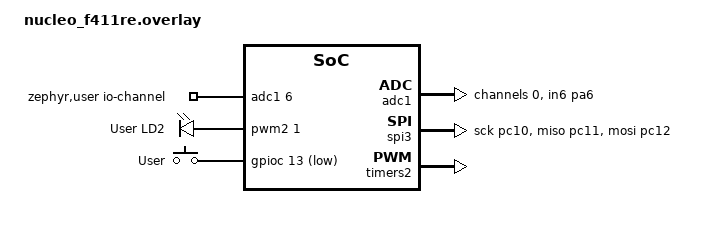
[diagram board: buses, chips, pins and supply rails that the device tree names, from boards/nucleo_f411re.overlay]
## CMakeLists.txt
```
cmake_minimum_required(VERSION 3.20.0)

list(APPEND BOARD_ROOT ${CMAKE_SOURCE_DIR})

# set(BOARD my_board)
set(BOARD nucleo_f411re)

find_package(Zephyr REQUIRED HINTS ${ENV}ZEPHYR_BASE)
project(tmpl_prj)

target_sources(app PRIVATE
    src/main.cpp
    # src/app/user-gpio.cpp
    src/app/user-pwm.cpp
    src/app/user-adc.cpp
    src/app/user-spi.cpp
)
```

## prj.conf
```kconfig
# CONFIG_DEBUG_OPTIMIZATIONS=y
CONFIG_NO_OPTIMIZATIONS=y
CONFIG_LOG=y

CONFIG_THREAD_MONITOR=y
CONFIG_DEBUG_THREAD_INFO=y

CONFIG_CPP=y

CONFIG_GPIO=y
CONFIG_PWM=y
CONFIG_ADC=y
CONFIG_SPI=y
```

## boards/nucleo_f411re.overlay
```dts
/ {
	zephyr,user {
		io-channels = <&adc1 6>;
	};

	// 注：如果在 CMakeLists 中引入 user-gpios，需要将注释的 led 替换掉下面的 led 节点。

	// led {
	// 	compatible = "gpio-leds";

	// 	ld_2: led {
	// 		gpios = <&gpioa 5 GPIO_ACTIVE_HIGH>;
	// 		label = "User LD2";
	// 	};
	// };

	led {
		compatible = "pwm-leds";

		ld_2: led {
			pwms = <&pwm2 1 PWM_MSEC(20) PWM_POLARITY_NORMAL>;
			label = "User LD2";
		};
	};

	key {
		compatible = "gpio-keys";

		b_1: button {
			label = "User";
			gpios = <&gpioc 13 GPIO_ACTIVE_LOW>;
		};
	};

	aliases {
		led0 = &ld_2;
		sw0 = &b_1;
		spi-1 = &spi3;
	};
};

&adc1 {
	status = "okay";
	
	pinctrl-0 = <&adc1_in6_pa6>;
	pinctrl-names = "default";

	st,adc-prescaler = <2>;

	#address-cells = <1>;
	#size-cells = <0>;

	channels@6 {
		reg = <0>;
		zephyr,gain = "ADC_GAIN_1";
		zephyr,reference = "ADC_REF_INTERNAL";
		zephyr,acquisition-time = <ADC_ACQ_TIME_DEFAULT>;
		zephyr,resolution = <12>;
	};
};

&spi3 {
	status = "okay";
	
	pinctrl-0 = <&spi3_sck_pc10 &spi3_miso_pc11 &spi3_mosi_pc12>;
	pinctrl-names = "default";
};

&timers2 {
	status = "okay";

	pwm2: pwm {
		status = "okay";
		pinctrl-0 = <&tim2_ch1_pa5>;
		pinctrl-names = "default";
	};
};
```

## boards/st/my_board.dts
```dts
/dts-v1/;

#include <st/f4/stm32f411Xe.dtsi>
#include <st/f4/stm32f411r(c-e)tx-pinctrl.dtsi>
#include <zephyr/dt-bindings/input/input-event-codes.h>

/ {
    model = "STMicroelectronics STM32F411RE-NUCLEO board";
    compatible = "st,stm32f411re-nucleo";

    chosen {
        zephyr,console = &usart2;
        zephyr,shell-uart = &usart2;
        zephyr,sram = &sram0;
        zephyr,flash = &flash0;
    };

    leds: leds {
        compatible = "gpio-leds";

        green_led_2: led_2 {
            gpios = <&gpioa 5 GPIO_ACTIVE_HIGH>;
            label = "User LD2";
        };
    };

    gpio_keys {
        compatible = "gpio-keys";

        user_button: button {
            label = "User";
            gpios = <&gpioc 13 GPIO_ACTIVE_LOW>;
            zephyr,code = <INPUT_KEY_0>;
        };
    };

    aliases {
        led0 = &green_led_2;
        sw0 = &user_button;
    };
};

&clk_lsi {
    status = "okay";
};

&clk_hse {
    hse-bypass;
    clock-frequency = <DT_FREQ_M(8)>; /* STLink 8MHz clock */
    status = "okay";
};

&pll {
    div-m = <8>;
    mul-n = <384>;
    div-p = <4>;
    div-q = <8>;
    clocks = <&clk_hse>;
    status = "okay";
};

&rcc {
    clocks = <&pll>;
    clock-frequency = <DT_FREQ_M(96)>;
    ahb-prescaler = <1>;
    apb1-prescaler = <2>;
    apb2-prescaler = <1>;
};


&usart2 {
    pinctrl-0 = <&usart2_tx_pa2 &usart2_rx_pa3>;
    pinctrl-names = "default";
    current-speed = <115200>;
    status = "okay";
};
```

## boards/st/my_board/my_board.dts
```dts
/dts-v1/;

#include <st/f4/stm32f411Xe.dtsi>
#include <st/f4/stm32f411r(c-e)tx-pinctrl.dtsi>

/ {
    chosen {
        zephyr,console = &usart2;
        zephyr,shell-uart = &usart2;
        zephyr,sram = &sram0;
        zephyr,flash = &flash0;
    };

    // led {
    //     compatible = "gpio-leds";

    //     ld_2: led {
    //         gpios = <&gpioa 5 GPIO_ACTIVE_HIGH>;
    //         label = "User LD2";
    //     };
    // };

    led {
        compatible = "pwm-leds";

        ld_2: led {
            pwms = <&pwm2 1 PWM_MSEC(20) PWM_POLARITY_NORMAL>;
            label = "User LD2";
        };
    };

    key {
        compatible = "gpio-keys";

        b_1: button {
            label = "User";
            gpios = <&gpioc 13 GPIO_ACTIVE_LOW>;
        };
    };

    aliases {
        led0 = &ld_2;
        sw0 = &b_1;
    };
};

&clk_hse {
    hse-bypass;
    clock-frequency = <DT_FREQ_M(8)>;
    status = "okay";
};

&pll {
    div-m = <4>;
    mul-n = <200>;
    div-p = <4>;
    clocks = <&clk_hse>;
    status = "okay";
};

&rcc {
    clocks = <&pll>;
    clock-frequency = <DT_FREQ_M(100)>;
    ahb-prescaler = <1>;
    apb1-prescaler = <2>;
    apb2-prescaler = <1>;
};

&usart2 {
    pinctrl-0 = <&usart2_tx_pa2 &usart2_rx_pa3>;
    pinctrl-names = "default";
    current-speed = <115200>;
    status = "okay";
};

&timers2 {
    status = "okay";

    pwm2: pwm {
        status = "okay";
        pinctrl-0 = <&tim2_ch1_pa5>;
        pinctrl-names = "default";
    };
};
```

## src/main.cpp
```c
#include <stdio.h>
#include <zephyr/kernel.h>

int main() {
  while (1) {
    k_msleep(1000);
  }

  return 0;
}
```
